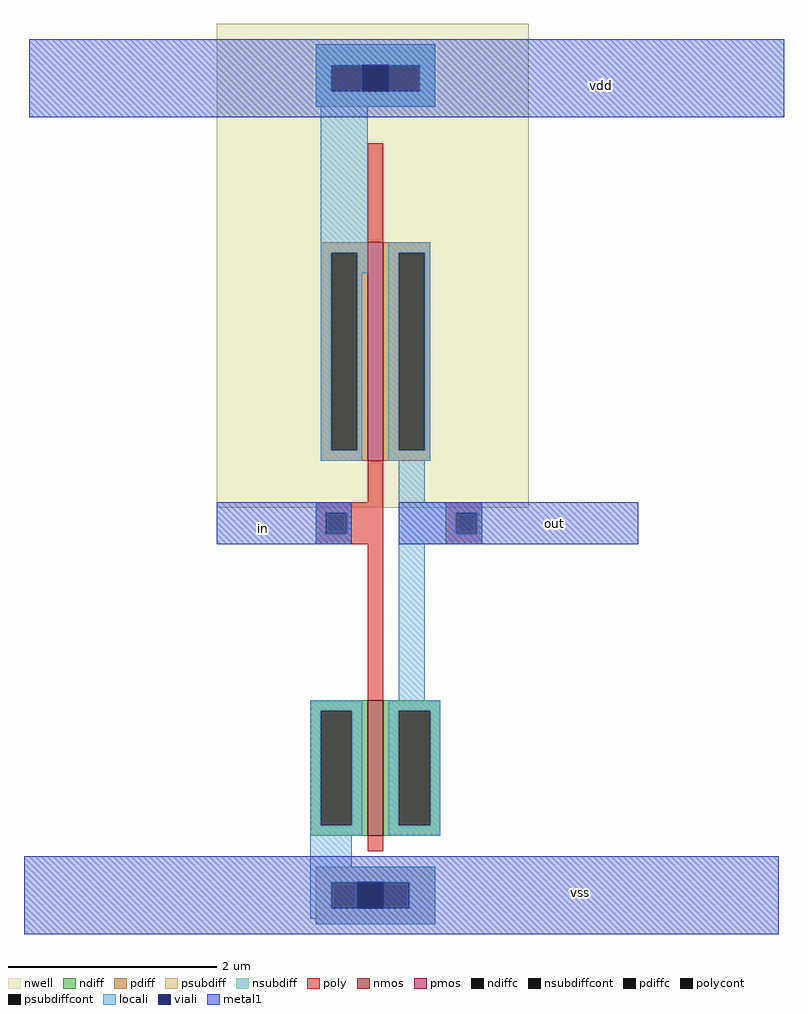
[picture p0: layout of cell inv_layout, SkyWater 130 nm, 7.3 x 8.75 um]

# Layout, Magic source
magic
tech sky130A
<< nwell >>
rect 450 350 750 815
<< nmos >>
rect 595 35 610 165
<< pmos >>
rect 595 395 610 605
<< ndiff >>
rect 540 155 595 165
rect 540 45 550 155
rect 580 45 595 155
rect 540 35 595 45
rect 610 155 665 165
rect 610 45 625 155
rect 655 45 665 155
rect 610 35 665 45
<< pdiff >>
rect 550 595 595 605
rect 550 405 560 595
rect 585 405 595 595
rect 550 395 595 405
rect 610 595 655 605
rect 610 405 625 595
rect 650 405 655 595
rect 610 395 655 405
<< ndiffc >>
rect 550 45 580 155
rect 625 45 655 155
<< pdiffc >>
rect 560 405 585 595
rect 625 405 650 595
<< psubdiff >>
rect 545 -10 660 5
rect 545 -35 560 -10
rect 635 -35 660 -10
rect 545 -50 660 -35
<< nsubdiff >>
rect 545 775 660 795
rect 545 750 560 775
rect 645 750 660 775
rect 545 735 660 750
<< psubdiffcont >>
rect 560 -35 635 -10
<< nsubdiffcont >>
rect 560 750 645 775
<< poly >>
rect 595 605 610 700
rect 595 355 610 395
rect 545 345 610 355
rect 545 325 555 345
rect 575 325 610 345
rect 545 315 610 325
rect 670 345 705 355
rect 670 325 680 345
rect 700 325 705 345
rect 670 315 705 325
rect 595 165 610 315
rect 595 20 610 35
<< polycont >>
rect 555 325 575 345
rect 680 325 700 345
<< locali >>
rect 545 775 660 795
rect 545 750 560 775
rect 645 750 660 775
rect 545 735 660 750
rect 550 595 595 735
rect 550 405 560 595
rect 585 575 595 595
rect 615 595 655 605
rect 585 405 590 575
rect 550 395 590 405
rect 615 405 625 595
rect 650 405 655 595
rect 615 395 655 405
rect 625 355 650 395
rect 545 345 580 355
rect 545 325 555 345
rect 575 325 580 345
rect 545 315 580 325
rect 625 345 705 355
rect 625 325 680 345
rect 700 325 705 345
rect 625 315 705 325
rect 625 165 650 315
rect 540 155 590 165
rect 540 45 550 155
rect 580 45 590 155
rect 540 35 590 45
rect 615 155 665 165
rect 615 45 625 155
rect 655 45 665 155
rect 615 35 665 45
rect 540 5 580 35
rect 540 -10 660 5
rect 540 -35 560 -10
rect 635 -35 660 -10
rect 540 -45 660 -35
rect 545 -50 660 -45
<< viali >>
rect 590 750 615 775
rect 585 -35 610 -10
<< metal1 >>
rect 270 775 995 800
rect 270 750 590 775
rect 615 750 995 775
rect 270 725 995 750
rect 450 315 580 355
rect 625 315 855 355
rect 265 -10 990 15
rect 265 -35 585 -10
rect 610 -35 990 -10
rect 265 -60 990 -35
<< labels >>
rlabel metal1 820 755 820 755 1 vdd
rlabel metal1 800 -20 800 -20 1 vss
rlabel metal1 770 330 780 340 1 out
rlabel metal1 490 325 500 335 1 in
<< end >>
